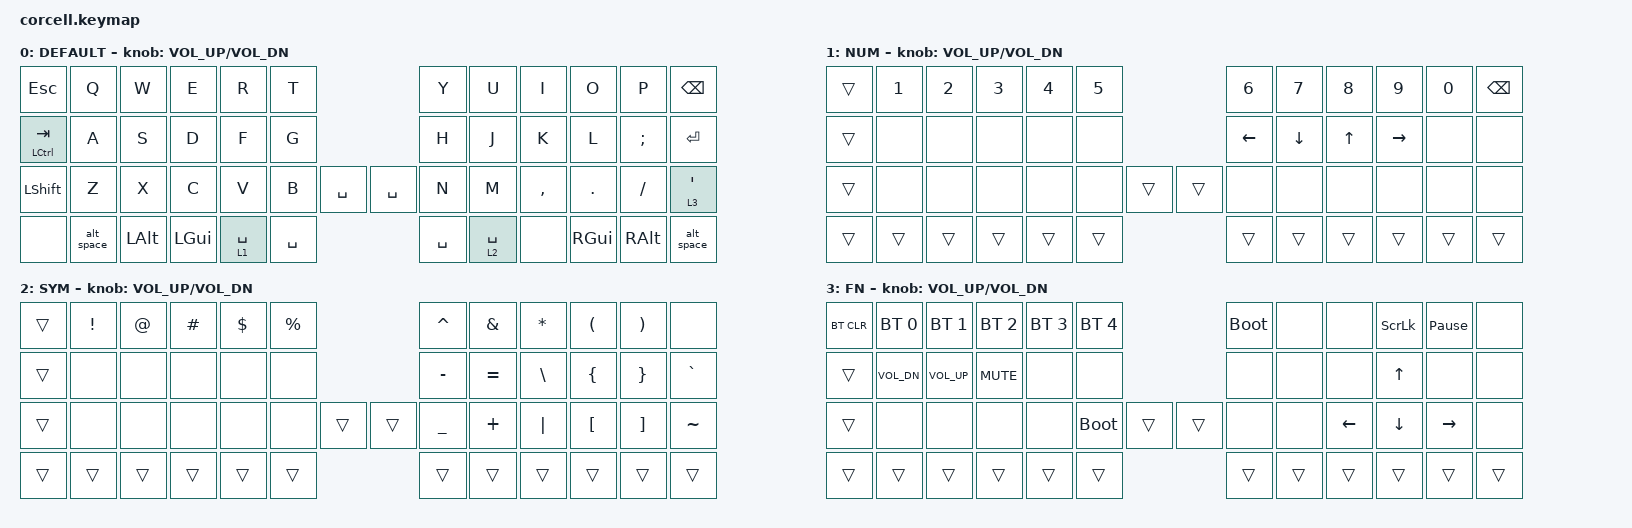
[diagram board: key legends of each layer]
#include <behaviors.dtsi>
#include <dt-bindings/zmk/bt.h>
#include <dt-bindings/zmk/keys.h>
#include <dt-bindings/zmk/pointing.h>

// レイヤー構成
//   0: DEFAULT
//   1: NUM     (数字 / 矢印)
//   2: SYM     (記号)
//   3: FN      (Bluetooth / メディア / ブートローダー / トラックボールスクロール)

&mt {
    flavor = "balanced";
    quick-tap-ms = <0>;
};

/ {
    combos {
        compatible = "zmk,combos";

        // J + K: 左クリック
        left_click {
            bindings = <&mkp LCLK>;
            key-positions = <19 20>;
            layers = <0 3>;
            require-prior-idle-ms = <100>;
        };

        // K + L: 右クリック
        right_click {
            bindings = <&mkp RCLK>;
            key-positions = <20 21>;
            layers = <0 3>;
            require-prior-idle-ms = <100>;
        };

        // J + K + L: 中クリック
        middle_click {
            bindings = <&mkp MCLK>;
            key-positions = <19 20 21>;
            layers = <0 3>;
            require-prior-idle-ms = <100>;
        };
    };

    macros {
        // Alt+Space を 1 回だけタップする (押しっぱなしにしても繰り返さない)
        alt_space: alt_space {
            compatible = "zmk,behavior-macro";
            #binding-cells = <0>;
            bindings = <&macro_tap &kp LA(SPACE)>;
        };
    };

    keymap {
        compatible = "zmk,keymap";

        default_layer {
            display-name = "DEFAULT";
            bindings = <
&kp ESC        &kp Q        &kp W      &kp E      &kp R          &kp T                                    &kp Y      &kp U          &kp I      &kp O      &kp P       &kp BSPC
&mt LCTRL TAB  &kp A        &kp S      &kp D      &kp F          &kp G                                    &kp H      &kp J          &kp K      &kp L      &kp SEMI  &kp RET
&kp LSHIFT     &kp Z        &kp X      &kp C      &kp V          &kp B        &kp SPACE      &kp SPACE    &kp N      &kp M          &kp COMMA  &kp DOT    &kp SLASH   &lt 3 SQT
&none          &alt_space   &kp LALT   &kp LGUI   &lt 1 SPACE    &kp SPACE                                &kp SPACE  &lt 2 SPACE  &none     &kp RGUI  &kp RALT  &alt_space
            >;
            sensor-bindings = <&inc_dec_kp C_VOL_UP C_VOL_DN>;
        };

        num_layer {
            display-name = "NUM";
            bindings = <
&trans   &kp N1   &kp N2   &kp N3   &kp N4   &kp N5                              &kp N6     &kp N7     &kp N8   &kp N9      &kp N0   &kp BSPC
&trans   &none    &none    &none    &none    &none                               &kp LEFT   &kp DOWN   &kp UP   &kp RIGHT   &none    &none
&trans   &none    &none    &none    &none    &none    &trans          &trans     &none      &none      &none    &none       &none    &none
&trans   &trans   &trans   &trans   &trans   &trans   &trans          &trans                           &trans   &trans      &trans   &trans
            >;
            sensor-bindings = <&inc_dec_kp C_VOL_UP C_VOL_DN>;
        };

        sym_layer {
            display-name = "SYM";
            bindings = <
&trans   &kp EXCL   &kp AT   &kp HASH   &kp DLLR   &kp PRCNT                              &kp CARET   &kp AMPS    &kp ASTRK   &kp LPAR   &kp RPAR   &none
&trans   &none      &none    &none      &none      &none                                  &kp MINUS   &kp EQUAL   &kp BSLH    &kp LBRC   &kp RBRC   &kp GRAVE
&trans   &none      &none    &none      &none      &none       &trans          &trans     &kp UNDER   &kp PLUS    &kp PIPE    &kp LBKT   &kp RBKT   &kp TILDE
&trans   &trans     &trans   &trans     &trans     &trans      &trans          &trans                             &trans      &trans     &trans     &trans
            >;
            sensor-bindings = <&inc_dec_kp C_VOL_UP C_VOL_DN>;
        };

        fn_layer {
            display-name = "FN";
            bindings = <
&bt BT_CLR   &bt BT_SEL 0   &bt BT_SEL 1   &bt BT_SEL 2   &bt BT_SEL 3   &bt BT_SEL 4                                &bootloader   &none            &none      &kp SLCK   &kp PAUSE_BREAK   &none
&trans       &kp C_VOL_DN   &kp C_VOL_UP   &kp C_MUTE     &none          &none                                       &none         &none            &none      &kp UP     &none             &none
&trans       &none          &none          &none          &none          &bootloader    &trans          &trans       &none         &none            &kp LEFT   &kp DOWN   &kp RIGHT         &none
&trans       &trans         &trans         &trans         &trans         &trans         &trans          &trans                                      &trans     &trans     &trans            &trans
            >;
            sensor-bindings = <&inc_dec_kp C_VOL_UP C_VOL_DN>;
        };



    };
};
